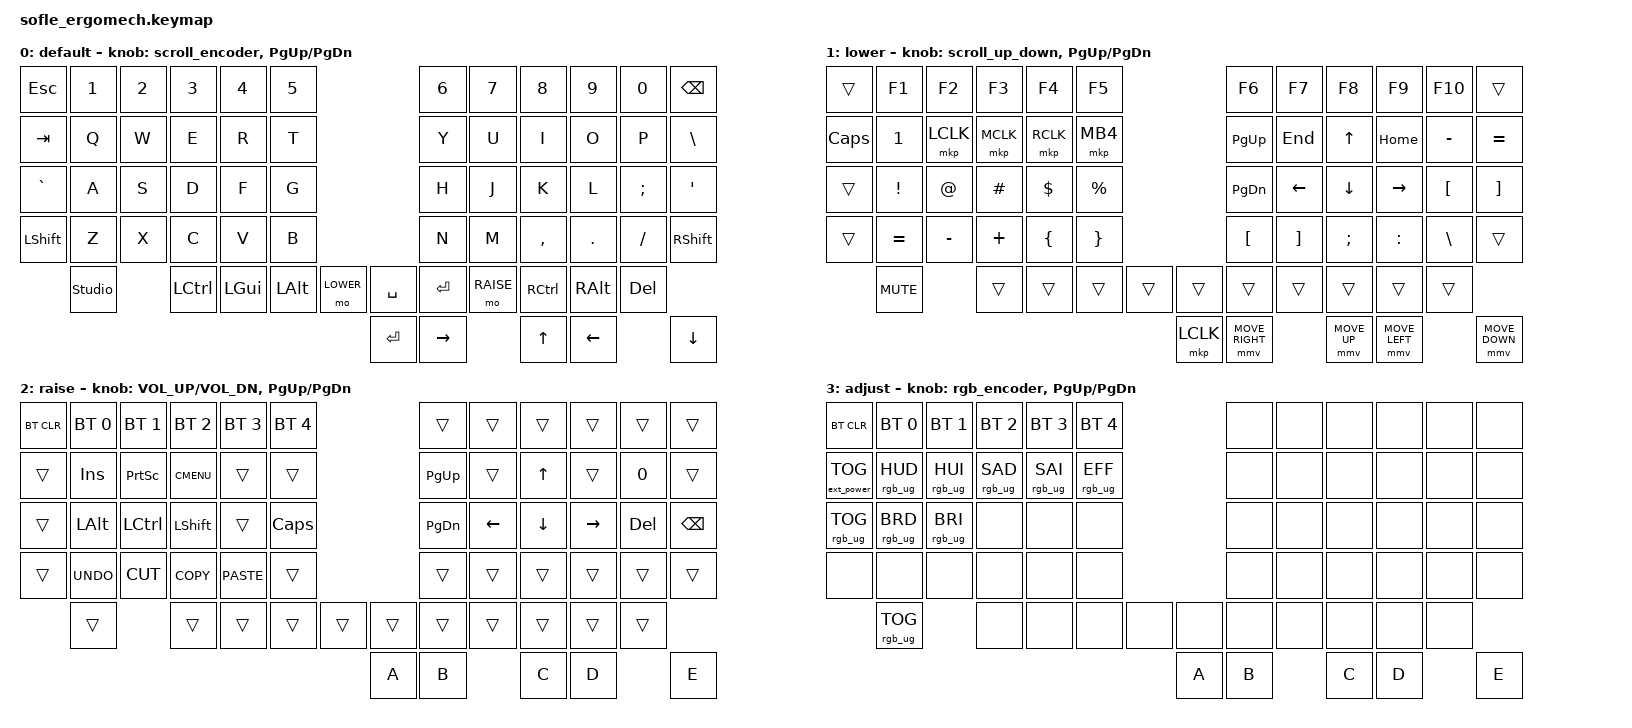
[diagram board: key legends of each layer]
#define ZMK_POINTING_DEFAULT_MOVE_VAL 1200  // 600
#define ZMK_POINTING_DEFAULT_SCRL_VAL 25   // 10
#define ZMK_MOUSE_SCRL_VAL 140
 &nice_view_spi {
     cs-gpios = <&gpio0 22 GPIO_ACTIVE_HIGH>;
 };
#include <input/processors.dtsi>
#include <zephyr/dt-bindings/input/input-event-codes.h>
#include <behaviors.dtsi>
#include <dt-bindings/zmk/bt.h>
#include <dt-bindings/zmk/ext_power.h>
#include <dt-bindings/zmk/keys.h>
#include <dt-bindings/zmk/pointing.h>
#include <dt-bindings/zmk/pointing.h>
#include <dt-bindings/zmk/pointing.h>
#include <dt-bindings/zmk/rgb.h>

&mmv_input_listener { input-processors = <&zip_xy_scaler 2 1>; };

&msc_input_listener { input-processors = <&zip_scroll_scaler 2 1>; };

&msc {
    acceleration-exponent = <1>;      // 0
    time-to-max-speed-ms = <100>;       // 300
    delay-ms = <0>;                   // 0
};

&mmv {
    time-to-max-speed-ms = <500>;
    acceleration-exponent = <1>;
    trigger-period-ms = <16>;
};

/ {
    macros {
        flash_macro: flash_macro {
            compatible = "zmk,behavior-macro";
            #binding-cells = <0>;
            bindings = <&bootloader>;
        };
    };

    behaviors {
        hm: homerow_mods {
            compatible = "zmk,behavior-hold-tap";
            label = "HOMEROW_MODS";
            bindings = <&kp>, <&kp>;

            #binding-cells = <2>;
            tapping-term-ms = <200>;
            quick-tap-ms = <180>;
            flavor = "tap-preferred";
        };

        ltq: ltq {
            compatible = "zmk,behavior-hold-tap";
            label = "LTQ";
            bindings = <&mo>, <&kp>;

            #binding-cells = <2>;
            tapping-term-ms = <200>;
            quick-tap-ms = <180>;
        };

        as: auto_shift {
            compatible = "zmk,behavior-hold-tap";
            label = "AUTO_SHIFT";
            bindings = <&kp>, <&kp>;

            #binding-cells = <2>;
            tapping-term-ms = <135>;
            quick-tap-ms = <0>;
        };

        rgb_encoder: rgb_encoder {
            compatible = "zmk,behavior-sensor-rotate";
            label = "RGB_ENCODER";
            #sensor-binding-cells = <0>;
            bindings = <&rgb_ug RGB_BRI>, <&rgb_ug RGB_BRD>;
        };

        scroll_encoder: scroll_encoder {
            compatible = "zmk,behavior-sensor-rotate";
            #sensor-binding-cells = <0>;
            bindings = <&msc SCRL_DOWN>, <&msc SCRL_UP>;
            tap-ms = <100>;
        };
    };

    combos {
        compatible = "zmk,combos";

        esc {
            bindings = <&kp ESCAPE>;
            key-positions = <12 13>;
        };

        left_bkt {
            bindings = <&kp LEFT_BRACKET>;
            key-positions = <15 16>;
        };

        right_bkt {
            bindings = <&kp RIGHT_BRACKET>;
            key-positions = <19 20>;
        };

        left_par {
            bindings = <&kp LEFT_PARENTHESIS>;
            key-positions = <27 28>;
        };

        right_par {
            bindings = <&kp RIGHT_PARENTHESIS>;
            key-positions = <31 32>;
        };

        left_brace {
            bindings = <&kp LEFT_BRACE>;
            key-positions = <39 40>;
        };

        right_brace {
            bindings = <&kp RIGHT_BRACE>;
            key-positions = <43 44>;
        };

        bac {
            bindings = <&kp BACKSLASH>;
            key-positions = <17 18>;
        };

        pipe {
            bindings = <&kp PIPE>;
            key-positions = <29 30>;
        };
    };
#define BASE 0
#define LOWER 1
#define RAISE 2
#define ADJUST 3

    // Activate ADJUST layer by pressing raise and lower

    conditional_layers {
        compatible = "zmk,conditional-layers";

        adjust_layer {
            if-layers = <LOWER RAISE>;
            then-layer = <ADJUST>;
        };
    };
    scroll_up_down: behavior_sensor_rotate_mouse_wheel_up_down {
        compatible = "zmk,behavior-sensor-rotate";
        #sensor-binding-cells = <0>;
        tap-ms = <500>;
        bindings = <&msc SCRL_UP>, <&msc SCRL_DOWN>;
    };

    keymap {
        compatible = "zmk,keymap";

        default_layer {
            label = "default";
// ------------------------------------------------------------------------------------------------------------
// |   `   |  1  |  2  |  3   |  4   |  5   |                   |  6   |  7    |  8    |  9   |   0   |       |
// |  ESC  |  Q  |  W  |  E   |  R   |  T   |                   |  Y   |  U    |  I    |  O   |   P   | BKSPC |
// |  TAB  |  A  |  S  |  D   |  F   |  G   |                   |  H   |  J    |  K    |  L   |   ;   |   '   |
// | SHIFT |  Z  |  X  |  C   |  V   |  B   |  MUTE  |  |       |  N   |  M    |  ,    |  .   |   /   | SHIFT |
//               | GUI | ALT  | CTRL | LOWER|  ENTER |  | SPACE | RAISE| CTRL  | ALT   | GUI  |
            bindings = <
&kp ESC   &kp N1 &kp N2   &kp N3   &kp N4    &kp N5                           &kp N6 &kp N7    &kp N8    &kp N9   &kp N0   &kp BSPC
&kp TAB   &kp Q  &kp W    &kp E    &kp R     &kp T                            &kp Y  &kp U     &kp I     &kp O    &kp P    &kp BSLH
&kp GRAVE   &kp A  &kp S    &kp D    &kp F     &kp G                            &kp H  &kp J     &kp K     &kp L    &kp SEMI &kp APOS
&kp LSHFT &kp Z  &kp X    &kp C    &kp V     &kp B                            &kp N  &kp M     &kp COMMA &kp DOT  &kp FSLH &kp RSHFT
             &studio_unlock  &kp LCTRL &kp LGUI &kp LALT &mo LOWER  &kp SPACE &kp ENTER &mo RAISE &kp RCTRL &kp RALT &kp DELETE
                                                                   &kp ENTER  &kp RIGHT_ARROW  &kp UP_ARROW &kp LEFT_ARROW  &kp DOWN_ARROW
            >;

            sensor-bindings = <&scroll_encoder &inc_dec_kp PG_UP PG_DN>;
        };

        lower_layer {
            label = "lower";
// TODO: Some binds are waiting for shifted keycode support.
// ------------------------------------------------------------------------------------------------------------
// |       |  F1 |  F2 |  F3  |  F4  |  F5  |                   |  F6  |  F7   |  F8   |  F9  |  F10  |  F11  |
// |   `   |  1  |  2  |  3   |  4   |  5   |                   |  6   |  7    |  8    |  9   |   0   |  F12  |
// |       |  !  |  @  |  #   |  $   |  %   |                   |  ^   |  &    |  *    |  (   |   )   |   |   |
// |       |  =  |  -  |  +   |  {   |  }   |        |  |       |  [   |  ]    |  ;    |  :   |   \   |       |
//               |     |      |      |      |        |  |       |      |       |       |      |
            bindings = <
&trans    &kp F1    &kp F2    &kp F3      &kp F4    &kp F5                    &kp F6    &kp F7   &kp F8          &kp F9    &kp F10   &trans
&kp CAPS &kp N1    &mkp LCLK &mkp MCLK   &mkp RCLK &mkp MB4                  &kp PG_UP &kp END  &kp UP          &kp HOME  &kp MINUS &kp EQUAL
&trans    &kp EXCL  &kp AT    &kp HASH    &kp DLLR  &kp PRCNT                 &kp PG_DN        &kp LEFT         &kp DOWN    &kp RIGHT  &kp LEFT_BRACKET  &kp RIGHT_BRACKET
&trans    &kp EQUAL &kp MINUS &kp PLUS &kp LBRC  &kp RBRC                     &kp LBKT  &kp RBKT &kp SEMI        &kp COLON &kp BSLH  &trans                                                    
            &kp C_MUTE        &trans    &trans      &trans    &trans     &trans &trans  &trans    &trans   &trans          &trans
                                                                      &mkp LCLK  &mmv MOVE_RIGHT  &mmv MOVE_UP &mmv MOVE_LEFT  &mmv MOVE_DOWN
            >;

            sensor-bindings = <&scroll_up_down &inc_dec_kp PG_UP PG_DN>;
        };

        raise_layer {
            label = "raise";
// ------------------------------------------------------------------------------------------------------------
// | BTCLR | BT1  | BT2  |  BT3  |  BT4  |  BT5 |                |      |      |       |      |       |       |
// |       | INS  | PSCR | GUI   |       |      |                | PGUP |      |   ^   |      |       |       |
// |       | ALT  | CTRL | SHIFT |       | CAPS |                | PGDN |   <- |   v   |  ->  |  DEL  | BKSPC |
// |       | UNDO | CUT  | COPY  | PASTE |      |      |  |      |      |      |       |      |       |       |
//                |      |       |       |      |      |  |      |      |      |       |      |
            bindings = <
&bt BT_CLR &bt BT_SEL 0 &bt BT_SEL 1 &bt BT_SEL 2 &bt BT_SEL 3 &bt BT_SEL 4                  &trans    &trans    &trans   &trans    &trans  &trans
&trans     &kp INS      &kp PSCRN    &kp K_CMENU  &trans       &trans                        &kp PG_UP &trans    &kp UP   &trans    &kp N0  &trans
&trans     &kp LALT     &kp LCTRL    &kp LSHFT    &trans       &kp CLCK                      &kp PG_DN &kp LEFT  &kp DOWN &kp RIGHT &kp DEL &kp BSPC
&trans     &kp K_UNDO   &kp K_CUT    &kp K_COPY   &kp K_PASTE  &trans                        &trans    &trans    &trans   &trans    &trans  &trans
                &trans        &trans       &trans       &trans       &trans        &trans  &trans  &trans    &trans    &trans   &trans
                                                                                     &kp A      &kp B  &kp C &kp D  &kp E
            >;

            sensor-bindings = <&inc_dec_kp C_VOL_UP C_VOL_DN &inc_dec_kp PG_UP PG_DN>;
        };

        adjust_layer {
// ----------------------------------------------------------------------------------------------------------------------------
// | BTCLR  |  BT1    |  BT2    |   BT3   |   BT4   |   BT5   |                  |      |      |       |      |       |       |
// | EXTPWR | RGB_HUD | RGB_HUI | RGB_SAD | RGB_SAI | RGB_EFF |                  |      |      |       |      |       |       |
// |RGB on off| RGB_BRD | RGB_BRI |         |         |         |                  |      |      |       |      |       |       |
// |        |         |         |         |         |         | RGB_TOG | |      |      |      |       |      |       |       |
//                    |         |         |         |         |         | |      |      |      |       |      |
            label = "adjust";
            bindings = <
&bt BT_CLR        &bt BT_SEL 0    &bt BT_SEL 1    &bt BT_SEL 2    &bt BT_SEL 3    &bt BT_SEL 4                            &none &none &none &none &none &none
&ext_power EP_TOG &rgb_ug RGB_HUD &rgb_ug RGB_HUI &rgb_ug RGB_SAD &rgb_ug RGB_SAI &rgb_ug RGB_EFF                         &none &none &none &none &none &none
&rgb_ug RGB_TOG   &rgb_ug RGB_BRD &rgb_ug RGB_BRI &none           &none           &none                                   &none &none &none &none &none &none
&none             &none           &none           &none           &none           &none                    &none &none &none &none &none &none                                                                               
                    &rgb_ug RGB_TOG              &none           &none           &none           &none            &none           &none  &none &none &none &none
                                                                                                                    &kp A      &kp B  &kp C &kp D  &kp E
            >;
            sensor-bindings = <&rgb_encoder &inc_dec_kp PG_UP PG_DN>;
        };

    };
};
